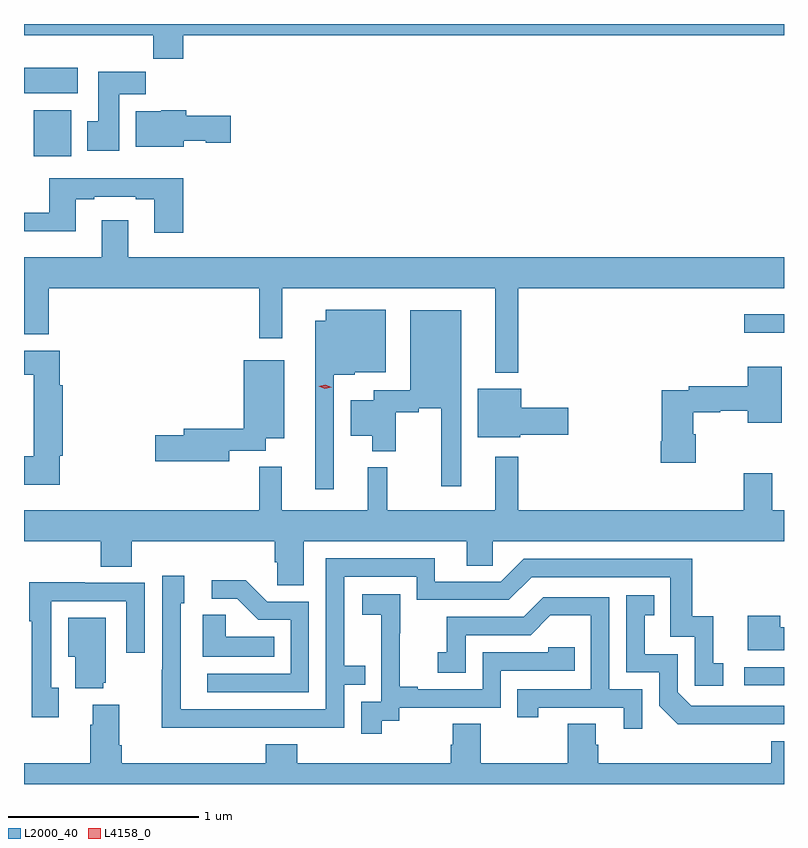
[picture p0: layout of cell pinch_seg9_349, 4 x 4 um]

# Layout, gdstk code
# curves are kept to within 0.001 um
import gdstk
lib = gdstk.Library(unit=1e-6, precision=1e-09)
def R(c, l, rs):  # rectangles x0, y0, x1, y1
    for r in rs: c.add(gdstk.rectangle(r[:2], r[2:], *l))
def P(c, l, *ps):  # polygons
    for p in ps: c.add(gdstk.Polygon(p, *l))
L2000_40 = (2000, 40)
L4158_0 = (4158, 0)

pinch_seg9_349 = lib.new_cell('pinch_seg9_349')
R(pinch_seg9_349, L2000_40, [(553.383,1165.026,553.592,1165.122), (553.383,1166.883,553.592,1166.98), (549.644,1167.812,549.841,1168.054), (549.592,1168.142,549.874,1168.276)])
P(pinch_seg9_349, L2000_40, [(550.43,1168.448),(553.592,1168.448),(553.592,1168.507),(549.592,1168.507),(549.592,1168.448),(550.273,1168.448),(550.273,1168.324),(550.43,1168.324)],
  [(550.093,1168.136),(550.232,1168.136),(550.232,1168.255),(549.983,1168.255),(549.983,1167.996),(549.926,1167.996),(549.926,1167.84),(550.093,1167.84)],
  [(550.432,1167.893),(550.548,1167.893),(550.548,1167.881),(550.681,1167.881),(550.681,1168.023),(550.445,1168.023),(550.445,1168.054),(550.314,1168.054),(550.314,1168.048),(550.181,1168.048),(550.181,1167.86),(550.432,1167.86)],
  [(550.43,1167.694),(549.725,1167.694),(549.725,1167.513),(549.592,1167.513),(549.592,1167.416),(549.865,1167.416),(549.865,1167.585),(549.961,1167.585),(549.961,1167.597),(550.181,1167.597),(550.181,1167.585),(550.277,1167.585),(550.277,1167.408),(550.43,1167.408)],
  [(552.193,1167.116),(553.592,1167.116),(553.592,1167.28),(550.141,1167.28),(550.141,1167.475),(550.001,1167.475),(550.001,1167.28),(549.592,1167.28),(549.592,1166.873),(549.722,1166.873),(549.722,1167.116),(550.831,1167.116),(550.831,1166.853),(550.95,1166.853),(550.95,1167.116),(552.071,1167.116),(552.071,1166.672),(552.193,1166.672)],
  [(551.223,1166.66),(551.334,1166.66),(551.334,1166.675),(551.497,1166.675),(551.497,1167.004),(551.18,1167.004),(551.18,1166.944),(551.126,1166.944),(551.126,1166.058),(551.223,1166.058)],
  [(551.893,1167.001),(551.624,1167.001),(551.624,1166.58),(551.432,1166.58),(551.432,1166.527),(551.312,1166.527),(551.312,1166.339),(551.426,1166.339),(551.426,1166.258),(551.548,1166.258),(551.548,1166.464),(551.669,1166.464),(551.669,1166.484),(551.789,1166.484),(551.789,1166.073),(551.893,1166.073)],
  [(549.779,1166.235),(549.795,1166.235),(549.795,1166.607),(549.779,1166.607),(549.779,1166.788),(549.592,1166.788),(549.592,1166.66),(549.644,1166.66),(549.644,1166.233),(549.592,1166.233),(549.592,1166.081),(549.779,1166.081)],
  [(550.672,1166.262),(550.864,1166.262),(550.864,1166.327),(550.963,1166.327),(550.963,1166.737),(550.748,1166.737),(550.748,1166.378),(550.433,1166.378),(550.433,1166.342),(550.284,1166.342),(550.284,1166.207),(550.672,1166.207)],
  [(553.127,1166.349),(553.114,1166.349),(553.114,1166.464),(553.257,1166.464),(553.257,1166.472),(553.4,1166.472),(553.4,1166.408),(553.579,1166.408),(553.579,1166.704),(553.4,1166.704),(553.4,1166.6),(553.09,1166.6),(553.09,1166.58),(552.949,1166.58),(552.949,1166.311),(552.944,1166.311),(552.944,1166.199),(553.127,1166.199)],
  [(552.204,1166.344),(552.457,1166.344),(552.457,1166.486),(552.208,1166.486),(552.208,1166.587),(551.981,1166.587),(551.981,1166.333),(552.204,1166.333)],
  [(549.592,1165.784),(549.995,1165.784),(549.995,1165.651),(550.16,1165.651),(550.16,1165.784),(550.913,1165.784),(550.913,1165.675),(550.926,1165.675),(550.926,1165.552),(551.065,1165.552),(551.065,1165.784),(551.921,1165.784),(551.921,1165.657),(552.06,1165.657),(552.06,1165.784),(553.592,1165.784),(553.592,1165.948),(553.531,1165.948),(553.531,1166.143),(553.379,1166.143),(553.379,1165.948),(552.193,1165.948),(552.193,1166.23),(552.071,1166.23),(552.071,1165.948),(551.504,1165.948),(551.504,1166.173),(551.402,1166.173),(551.402,1165.948),(550.949,1165.948),(550.949,1166.177),(550.831,1166.177),(550.831,1165.948),(549.592,1165.948)],
  [(550.781,1164.804),(551.277,1164.804),(551.277,1165.029),(551.387,1165.029),(551.387,1165.13),(551.277,1165.13),(551.277,1165.599),(551.658,1165.599),(551.658,1165.476),(552.144,1165.476),(552.264,1165.596),(552.993,1165.596),(552.993,1165.281),(553.122,1165.281),(553.122,1165.023),(553.273,1165.023),(553.273,1165.143),(553.22,1165.143),(553.22,1165.39),(553.109,1165.39),(553.109,1165.692),(552.222,1165.692),(552.102,1165.572),(551.755,1165.572),(551.755,1165.695),(551.181,1165.695),(551.181,1164.9),(550.416,1164.9),(550.416,1165.458),(550.435,1165.458),(550.435,1165.603),(550.32,1165.603),(550.32,1165.109),(550.318,1165.109),(550.318,1164.803)],
  [(551.091,1165.467),(550.872,1165.467),(550.759,1165.58),(550.581,1165.58),(550.581,1165.482),(550.715,1165.482),(550.826,1165.371),(550.995,1165.371),(550.995,1165.086),(550.557,1165.086),(550.557,1164.99),(551.091,1164.99)],
  [(549.775,1165.014),(549.735,1165.014),(549.735,1165.47),(550.131,1165.47),(550.131,1165.197),(550.227,1165.197),(550.227,1165.566),(549.911,1165.566),(549.911,1165.568),(549.619,1165.568),(549.619,1165.363),(549.634,1165.363),(549.634,1164.858),(549.775,1164.858)],
  [(551.476,1164.841),(551.568,1164.841),(551.568,1164.909),(552.102,1164.909),(552.102,1165.104),(552.491,1165.104),(552.491,1165.227),(552.351,1165.227),(552.351,1165.2),(552.006,1165.2),(552.006,1165.005),(551.665,1165.005),(551.665,1165.018),(551.57,1165.018),(551.57,1165.301),(551.571,1165.301),(551.571,1165.507),(551.373,1165.507),(551.373,1165.397),(551.471,1165.397),(551.471,1165.169),(551.472,1165.169),(551.472,1164.939),(551.367,1164.939),(551.367,1164.771),(551.476,1164.771)],
  [(553.442,1164.822),(553.592,1164.822),(553.592,1164.918),(553.104,1164.918),(553.032,1164.99),(553.032,1165.191),(552.859,1165.191),(552.859,1165.395),(552.908,1165.395),(552.908,1165.501),(552.762,1165.501),(552.762,1165.095),(552.936,1165.095),(552.936,1164.918),(553.034,1164.821)],
  [(552.846,1165.005),(552.672,1165.005),(552.672,1165.491),(552.326,1165.491),(552.221,1165.386),(551.818,1165.386),(551.818,1165.201),(551.769,1165.201),(551.769,1165.092),(551.916,1165.092),(551.916,1165.29),(552.258,1165.29),(552.362,1165.394),(552.576,1165.394),(552.576,1165.005),(552.187,1165.005),(552.187,1164.858),(552.298,1164.858),(552.298,1164.909),(552.749,1164.909),(552.749,1164.798),(552.846,1164.798)],
  [(550.91,1165.282),(550.653,1165.282),(550.653,1165.397),(550.532,1165.397),(550.532,1165.178),(550.91,1165.178)],
  [(553.592,1165.333),(553.571,1165.333),(553.571,1165.393),(553.4,1165.393),(553.4,1165.211),(553.592,1165.211)],
  [(550.01,1165.041),(550.021,1165.041),(550.021,1165.381),(549.824,1165.381),(549.824,1165.178),(549.863,1165.178),(549.863,1165.01),(550.01,1165.01)],
  [(553.592,1164.733),(553.526,1164.733),(553.526,1164.616),(552.614,1164.616),(552.614,1164.714),(552.601,1164.714),(552.601,1164.824),(552.454,1164.824),(552.454,1164.616),(551.997,1164.616),(551.997,1164.824),(551.849,1164.824),(551.849,1164.714),(551.837,1164.714),(551.837,1164.616),(551.03,1164.616),(551.03,1164.715),(550.865,1164.715),(550.865,1164.616),(550.106,1164.616),(550.106,1164.712),(550.093,1164.712),(550.093,1164.925),(549.953,1164.925),(549.953,1164.818),(549.941,1164.818),(549.941,1164.616),(549.592,1164.616),(549.592,1164.507),(553.592,1164.507)])
P(pinch_seg9_349, L4158_0, [(551.176,1166.588),(551.142,1166.6),(551.141,1166.6),(551.142,1166.6),(551.178,1166.608),(551.212,1166.596),(551.213,1166.596),(551.212,1166.596)])

lib.write_gds('pinch_seg9_349.gds')
